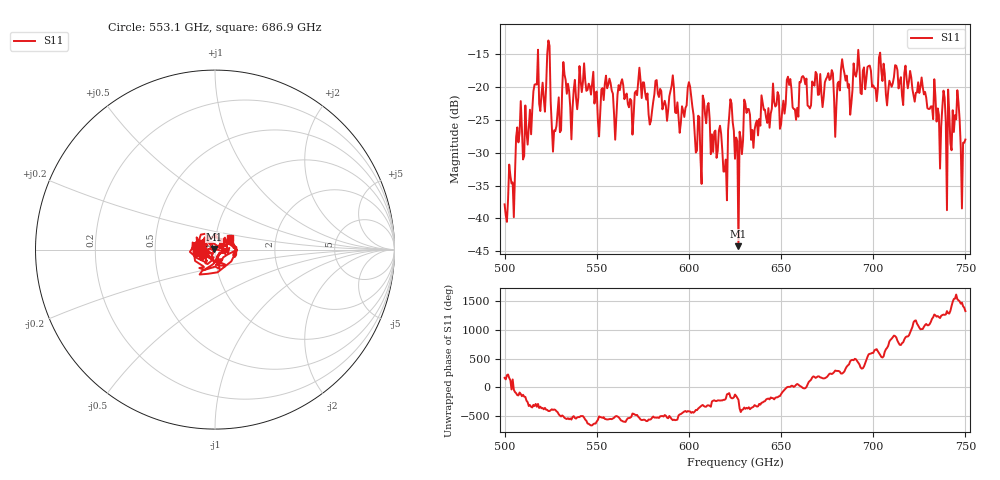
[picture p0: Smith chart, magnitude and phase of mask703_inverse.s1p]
!Created with skrf (http://scikit-rf.org).
# GHz S MA R 50.0
!freq magS11 angS11
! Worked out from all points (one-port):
!   401 points, 500 GHz to 750 GHz, reference 50 ohm
!   lowest |S11| = -44.2 dB at 626.9 GHz (marker M1), VSWR 1.01, Z = 49.5 + j0.382 ohm
!   |S11| at or under -10 dB: start of sweep to end of sweep
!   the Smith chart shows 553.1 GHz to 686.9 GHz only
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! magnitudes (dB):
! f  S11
! 500 GHz  -37.9
! 516.9 GHz  -19.6
! 520.6 GHz  -19.3
! 523.8 GHz  -12.9
! 526.9 GHz  -26.6
! 531.2 GHz  -20.3
! 560 GHz  -28.0
! 562.5 GHz  -20.5
! 579.4 GHz  -25.2
! 590.6 GHz  -19.8
! 593.8 GHz  -22.3
! 600.6 GHz  -19.9
! 605.6 GHz  -24.5
! 608.8 GHz  -24.1
! 619.4 GHz  -32.8
! 622.5 GHz  -21.9
! 625 GHz  -30.9
! 626.9 GHz  -44.2
! 631.2 GHz  -23.9
! 635 GHz  -29.2
! 656.2 GHz  -23.1
! 676.9 GHz  -18.8
! 680 GHz  -22.9
! 683.8 GHz  -17.1
! 687.5 GHz  -24.2
! 690.6 GHz  -18.4
! 718.8 GHz  -20.2
! 750 GHz  -28.0
